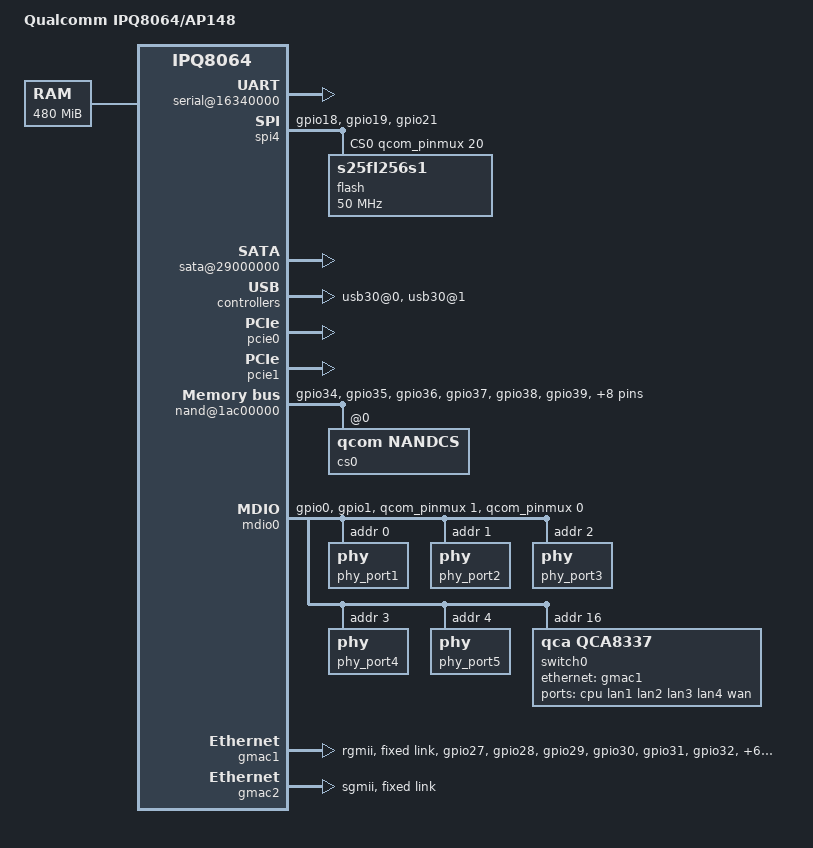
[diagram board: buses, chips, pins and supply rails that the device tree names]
#include "qcom-ipq8064-v1.0.dtsi"

/ {
	model = "Qualcomm IPQ8064/AP148";
	compatible = "qcom,ipq8064-ap148", "qcom,ipq8064";

	memory@0 {
		reg = <0x42000000 0x1e000000>;
		device_type = "memory";
	};

	reserved-memory {
		#address-cells = <1>;
		#size-cells = <1>;
		ranges;
		rsvd@41200000 {
			reg = <0x41200000 0x300000>;
			no-map;
		};
	};

	aliases {
		serial0 = &gsbi4_serial;
		mdio-gpio0 = &mdio0;
	};

	chosen {
		linux,stdout-path = "serial0:115200n8";
	};

	soc {
		pinmux@800000 {
			i2c4_pins: i2c4_pinmux {
				pins = "gpio12", "gpio13";
				function = "gsbi4";
				bias-disable;
			};

			spi_pins: spi_pins {
				mux {
					pins = "gpio18", "gpio19", "gpio21";
					function = "gsbi5";
					drive-strength = <10>;
					bias-none;
				};
			};
			nand_pins: nand_pins {
				mux {
					pins = "gpio34", "gpio35", "gpio36",
					       "gpio37", "gpio38", "gpio39",
					       "gpio40", "gpio41", "gpio42",
					       "gpio43", "gpio44", "gpio45",
					       "gpio46", "gpio47";
					function = "nand";
					drive-strength = <10>;
					bias-disable;
				};
				pullups {
					pins = "gpio39";
					bias-pull-up;
				};
				hold {
					pins = "gpio40", "gpio41", "gpio42",
					       "gpio43", "gpio44", "gpio45",
					       "gpio46", "gpio47";
					bias-bus-hold;
				};
			};

			mdio0_pins: mdio0_pins {
				mux {
					pins = "gpio0", "gpio1";
					function = "gpio";
					drive-strength = <8>;
					bias-disable;
				};
			};

			rgmii2_pins: rgmii2_pins {
				mux {
					pins = "gpio27", "gpio28", "gpio29", "gpio30", "gpio31", "gpio32",
					       "gpio51", "gpio52", "gpio59", "gpio60", "gpio61", "gpio62" ;
					function = "rgmii2";
					drive-strength = <8>;
					bias-disable;
				};
			};
		};

		gsbi@16300000 {
			qcom,mode = <GSBI_PROT_I2C_UART>;
			status = "ok";
			serial@16340000 {
				status = "ok";
			};

			/*
			* The i2c device on gsbi4 should not be enabled.
			* On ipq806x designs gsbi4 i2c is meant for exclusive
			* RPM usage. Turning this on in kernel manifests as
			* i2c failure for the RPM.
			*/
		};

		gsbi5: gsbi@1a200000 {
			qcom,mode = <GSBI_PROT_SPI>;
			status = "ok";

			spi4: spi@1a280000 {
				status = "ok";
				spi-max-frequency = <50000000>;

				pinctrl-0 = <&spi_pins>;
				pinctrl-names = "default";

				cs-gpios = <&qcom_pinmux 20 0>;

				flash: m25p80@0 {
					compatible = "s25fl256s1";
					#address-cells = <1>;
					#size-cells = <1>;
					spi-max-frequency = <50000000>;
					reg = <0>;

					linux,part-probe = "qcom-smem";
				};
			};
		};

		sata-phy@1b400000 {
			status = "ok";
		};

		sata@29000000 {
			status = "ok";
		};

		phy@100f8800 {		/* USB3 port 1 HS phy */
			status = "ok";
		};

		phy@100f8830 {		/* USB3 port 1 SS phy */
			status = "ok";
		};

		phy@110f8800 {		/* USB3 port 0 HS phy */
			status = "ok";
		};

		phy@110f8830 {		/* USB3 port 0 SS phy */
			status = "ok";
		};

		usb30@0 {
			status = "ok";
		};

		usb30@1 {
			status = "ok";
		};

		pcie0: pci@1b500000 {
			status = "ok";
			phy-tx0-term-offset = <7>;
		};

		pcie1: pci@1b700000 {
			status = "ok";
			phy-tx0-term-offset = <7>;
		};

		nand@1ac00000 {
			status = "ok";

			pinctrl-0 = <&nand_pins>;
			pinctrl-names = "default";

			cs0 {
				reg = <0>;
				compatible = "qcom,nandcs";

				nand-ecc-strength = <4>;
				nand-bus-width = <8>;
				nand-ecc-step-size = <512>;

				linux,part-probe = "qcom-smem";
			};
		};

		mdio0: mdio {
			compatible = "virtual,mdio-gpio";
			#address-cells = <1>;
			#size-cells = <0>;
			gpios = <&qcom_pinmux 1 0 &qcom_pinmux 0 0>;
			pinctrl-0 = <&mdio0_pins>;
			pinctrl-names = "default";

			phy_port1: phy@0 {
				reg = <0>;
			};

			phy_port2: phy@1 {
				reg = <1>;
			};

			phy_port3: phy@2 {
				reg = <2>;
			};

			phy_port4: phy@3 {
				reg = <3>;
			};

			phy_port5: phy@4 {
				reg = <4>;
			};

			switch0@16 {
				compatible = "qca,qca8337";
				#address-cells = <1>;
				#size-cells = <0>;

				reg = <16>;

				ports {
					#address-cells = <1>;
					#size-cells = <0>;
					port@0 {
						reg = <0>;
						label = "cpu";
						ethernet = <&gmac1>;
						phy-mode = "rgmii";

 						fixed-link {
 							speed = <1000>;
 							full-duplex;
 						};
					};

					port@1 {
						reg = <1>;
						label = "lan1";
						phy-handle = <&phy_port1>;
					};

					port@2 {
						reg = <2>;
						label = "lan2";
						phy-handle = <&phy_port2>;
					};

					port@3 {
						reg = <3>;
						label = "lan3";
						phy-handle = <&phy_port3>;
					};

					port@4 {
						reg = <4>;
						label = "lan4";
						phy-handle = <&phy_port4>;
					};

					port@5 {
						reg = <5>;
						label = "wan";
						phy-handle = <&phy_port5>;
					};

					/*
					 * Disabled until DSA supports multiple CPUs,
					 * otherwise it causes undefined behavior.
					 *
					 * port@6 {
					 *	reg = <6>;
					 *	label = "cpu";
					 *	ethernet = <&gmac2>;
					 *	phy-mode = "sgmii";
					 *
 					 *	fixed-link {
 					 *		speed = <1000>;
 					 *		full-duplex;
 					 *	};
					 * };
					 */
				};
			};		
		};

		gmac1: ethernet@37200000 {
			status = "ok";
			phy-mode = "rgmii";
			qcom,id = <1>;

			pinctrl-0 = <&rgmii2_pins>;
			pinctrl-names = "default";

			fixed-link {
				speed = <1000>;
				full-duplex;
			};
		};

		gmac2: ethernet@37400000 {
			status = "ok";
			phy-mode = "sgmii";
			qcom,id = <2>;

			fixed-link {
				speed = <1000>;
				full-duplex;
			};
		};
	};
};

&adm_dma {
	status = "ok";
};
